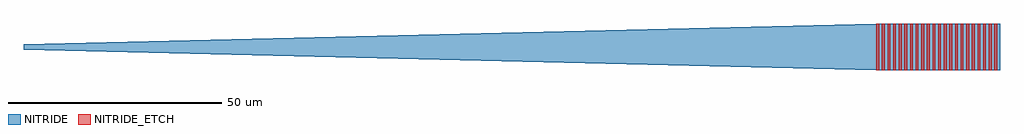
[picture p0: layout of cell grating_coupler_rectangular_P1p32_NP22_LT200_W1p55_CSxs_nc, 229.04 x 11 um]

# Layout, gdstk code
import gdstk
lib = gdstk.Library(unit=1e-6, precision=1e-09)
def R(c, l, rs):  # rectangles x0, y0, x1, y1
    for r in rs: c.add(gdstk.rectangle(r[:2], r[2:], *l))
def A(c, l, x, y, w, h, nx, ny, dx, dy):  # array of equal rectangles
    R(c, l, [(x+i*dx, y+j*dy, x+i*dx+w, y+j*dy+h) for i in range(nx) for j in range(ny)])
def P(c, l, *ps):  # polygons
    for p in ps: c.add(gdstk.Polygon(p, *l))
NITRIDE = (203, 0)
NITRIDE_ETCH = (204, 0)

grating_coupler_rectangu = lib.new_cell('grating_coupler_rectangular_P1p32_NP22_LT200_W1p55_CSxs_nc')
P(grating_coupler_rectangu, NITRIDE, [(200,-5.5),(0,-0.6),(0,0.6),(200,5.5),(229.04,5.5),(229.04,-5.5)])
A(grating_coupler_rectangu, NITRIDE_ETCH, 200, -5.5, 0.66, 11, 22, 1, 1.32, 0)

lib.write_gds('grating_coupler_rectangular_P1p32_NP22_LT200_W1p55_CSxs_nc.gds')
